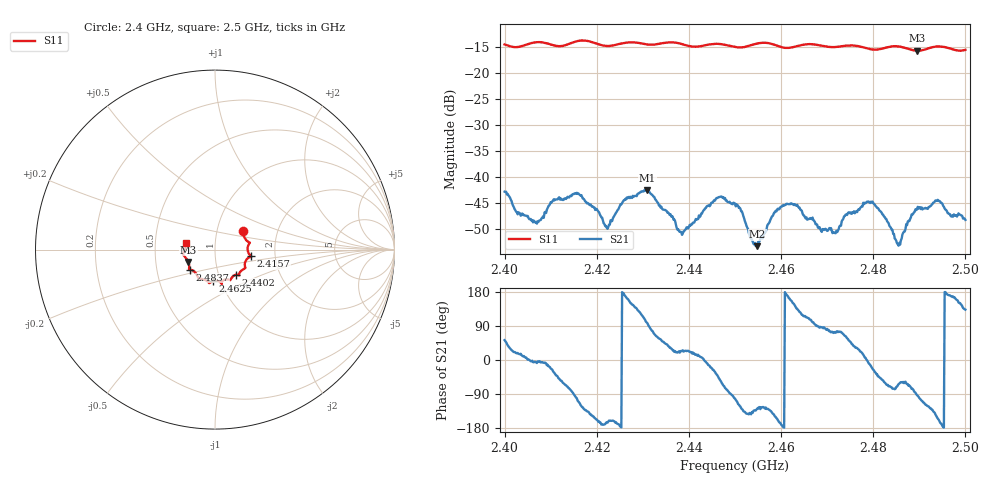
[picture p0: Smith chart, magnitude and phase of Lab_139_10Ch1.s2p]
# Hz S RI R 50
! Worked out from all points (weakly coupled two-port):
!   601 points, 2.4 GHz to 2.5 GHz, reference 50 ohm
!   highest |S21| = -42.53 dB at 2.431 GHz (marker M1); lowest = -53.4 dB at 2.4548 GHz (marker M2)
!   lowest |S11| = -15.7 dB at 2.4895 GHz (marker M3), VSWR 1.39, Z = 36.8 - j5.17 ohm
!   |S11| at or under -10 dB: start of sweep to end of sweep
!   S12 and S22 are empty: the file has one direction only
!   S11 on the Smith chart (normalised r, x): 2.4 GHz: 1.33, +0.29; 2.4157 GHz: 1.49, -0.11; 2.4402 GHz: 1.20, -0.35; 2.4625 GHz: 0.92, -0.34; 2.4837 GHz: 0.74, -0.17; 2.5 GHz: 0.72, +0.05
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2.4e9  0.1561 0.1054  0.0044 0.0057  0 0  0 0
2.406667e9  0.1933 0.0395  0.00362 -0.000299  0 0  0 0
2.415667e9  0.1987 -0.0365  -0.00132 -0.00689  0 0  0 0
2.416667e9  0.2016 -0.0399  -0.00352 -0.00566  0 0  0 0
2.422333e9  0.1688 -0.0672  -0.00305 -0.000802  0 0  0 0
2.431e9  0.1471 -0.1169  -0.000873 0.00742  0 0  0 0
2.433333e9  0.1357 -0.1335  0.00293 0.00473  0 0  0 0
2.438e9  0.13 -0.1417  0.00279 0.000982  0 0  0 0
2.440167e9  0.1145 -0.1405  0.0032 0.00127  0 0  0 0
2.446333e9  0.0848 -0.1708  0.00455 -0.00437  0 0  0 0
2.45e9  0.0643 -0.166  -0.00114 -0.00542  0 0  0 0
2.454833e9  0.0372 -0.1885  -0.00132 -0.0017  0 0  0 0
2.4625e9  -0.0101 -0.1765  -0.00474 0.00266  0 0  0 0
2.466667e9  -0.0332 -0.1863  -0.000783 0.00383  0 0  0 0
2.471667e9  -0.0647 -0.1653  0.000826 0.00276  0 0  0 0
2.479333e9  -0.1062 -0.132  0.00545 -0.00126  0 0  0 0
2.483333e9  -0.1379 -0.1122  0.00126 -0.00334  0 0  0 0
2.483667e9  -0.1398 -0.1119  0.00114 -0.0031  0 0  0 0
2.485667e9  -0.1443 -0.1068  0.00108 -0.00205  0 0  0 0
2.4895e9  -0.1484 -0.0684  -0.000233 -0.00487  0 0  0 0
2.494e9  -0.1784 -0.026  -0.00543 -0.00258  0 0  0 0
2.5e9  -0.1627 0.0363  -0.00263 0.00282  0 0  0 0
